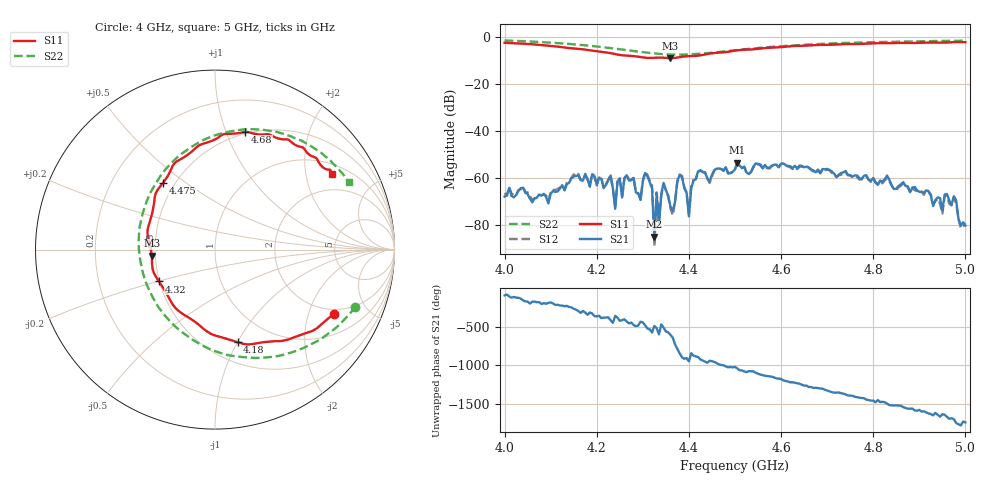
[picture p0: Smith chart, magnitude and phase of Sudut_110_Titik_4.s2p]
# Hz S RI R 50
! CMT, C1220, 16058040, 17.2.0/1
! Date: 15/08/2018 12:28:42
! Data: Format (Calibration Info)
! Freq  S11: Re/Im (F2)  S21: Re/Im (F2)  S12: Re/Im (F2)  S22: Re/Im (F2)
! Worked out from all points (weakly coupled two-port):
!   201 points, 4 GHz to 5 GHz, reference 50 ohm
!   highest |S21| = -53.53 dB at 4.505 GHz (marker M1); lowest = -84.9 dB at 4.325 GHz (marker M2)
!   lowest |S11| = -9.0 dB at 4.36 GHz (marker M3), VSWR 2.10, Z = 23.9 - j1.86 ohm
!   |S11| at or under -10 dB: nowhere
!   |S22| runs from -7.5 to -1.5 dB; largest |S21 - S12| = 0.00016
!   S11 on the Smith chart (normalised r, x): 4 GHz: 1.77, -2.95; 4.18 GHz: 0.70, -1.00; 4.32 GHz: 0.50, -0.20; 4.475 GHz: 0.43, +0.41; 4.68 GHz: 0.48, +1.17; 5 GHz: 1.33, +2.81
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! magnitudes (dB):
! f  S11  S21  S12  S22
! 4 GHz  -2.5  -67.9  -66.4  -1.5
! 4.17 GHz  -5.2  -61.1  -61.0  -3.4
! 4.18 GHz  -5.5  -60.7  -60.6  -3.6
! 4.23 GHz  -6.9  -58.9  -58.8  -4.7
! 4.24 GHz  -7.3  -73.1  -72.0  -4.9
! 4.265 GHz  -7.9  -58.8  -58.5  -5.6
! 4.32 GHz  -8.9  -64.4  -63.1  -6.9
! 4.325 GHz  -8.8  -84.9  -89.0  -7.0
! 4.33 GHz  -8.8  -66.5  -66.1  -7.1
! 4.335 GHz  -8.8  -80.1  -77.3  -7.2
! 4.345 GHz  -8.8  -62.1  -62.6  -7.3
! 4.36 GHz  -9.0  -72.2  -73.1  -7.5
! 4.38 GHz  -8.6  -58.7  -58.5  -7.5
! 4.4 GHz  -8.1  -76.3  -75.2  -7.4
! 4.42 GHz  -7.9  -57.1  -57.3  -7.1
! 4.475 GHz  -6.5  -56.9  -57.0  -6.2
! 4.5 GHz  -5.8  -56.3  -56.3  -5.6
! 4.505 GHz  -5.7  -53.5  -53.7  -5.5
! 4.67 GHz  -3.5  -56.7  -57.2  -3.1
! 4.68 GHz  -3.4  -56.4  -56.9  -3.0
! 4.835 GHz  -2.6  -60.7  -61.4  -2.1
! 5 GHz  -2.2  -80.2  -79.1  -1.6
